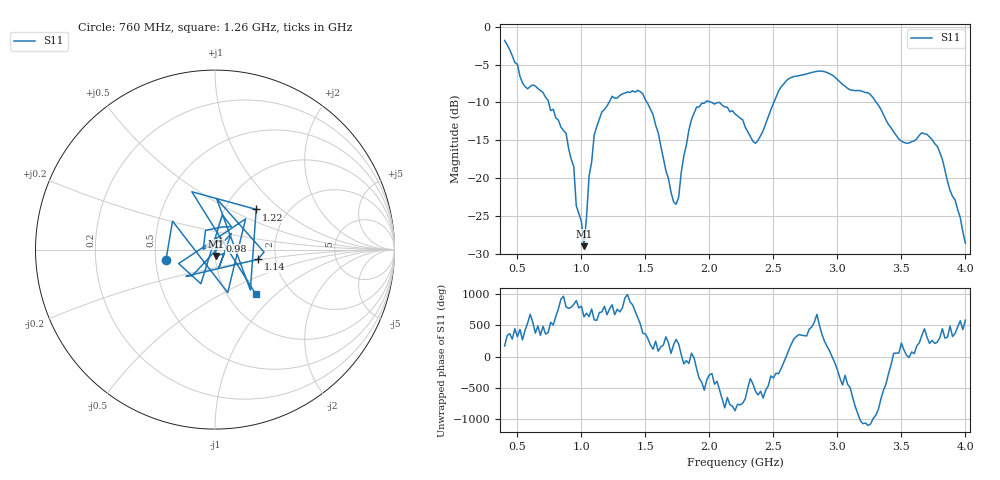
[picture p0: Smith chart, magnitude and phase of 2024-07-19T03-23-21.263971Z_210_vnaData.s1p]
!Created with skrf (http://scikit-rf.org).
# Hz S RI R 50.0
!freq ReS11 ImS11
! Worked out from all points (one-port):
!   181 points, 400 MHz to 4 GHz, reference 50 ohm
!   lowest |S11| = -29.0 dB at 1.02 GHz (marker M1), VSWR 1.07, Z = 50.3 - j3.54 ohm
!   |S11| at or under -10 dB: 743.9 MHz to 1.216 GHz (472 MHz wide, 48.2 % of centre); 2.018 GHz to 2.503 GHz (484.9 MHz wide, 21.4 % of centre); 3.304 GHz to end of sweep (the widest 3 of 4)
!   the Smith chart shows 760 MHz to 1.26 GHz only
!   S11 on the Smith chart (normalised r, x): 760 MHz: 0.57, -0.07; 980 MHz: 1.05, +0.11; 1.14 GHz: 1.61, -0.19; 1.22 GHz: 1.39, +0.70; 1.26 GHz: 1.34, -0.76
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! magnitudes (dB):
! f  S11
! 400 MHz  -1.8
! 540 MHz  -7.4
! 760 MHz  -11.1
! 860 MHz  -13.7
! 940 MHz  -18.5
! 960 MHz  -23.7
! 980 MHz  -24.7
! 1.02 GHz  -29.0
! 1.06 GHz  -19.8
! 1.1 GHz  -14.3
! 1.14 GHz  -12.2
! 1.22 GHz  -9.9
! 1.26 GHz  -9.4
! 1.3 GHz  -9.1
! 1.48 GHz  -8.9
! 1.6 GHz  -14.0
! 1.72 GHz  -23.1
! 1.76 GHz  -22.5
! 1.84 GHz  -13.6
! 1.9 GHz  -10.6
! 2.2 GHz  -11.5
! 2.36 GHz  -15.4
! 2.66 GHz  -6.6
! 3.1 GHz  -8.3
! 3.26 GHz  -9.0
! 3.56 GHz  -15.4
! 3.78 GHz  -15.8
! 4 GHz  -28.6
